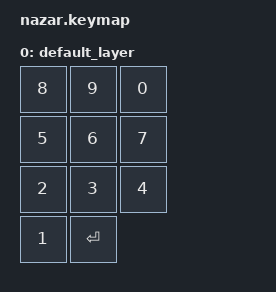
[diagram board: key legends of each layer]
#include <behaviors.dtsi>
#include <dt-bindings/zmk/keys.h>

/ {
    keymap {
        compatible = "zmk,keymap";
        default_layer {
        bindings = <
&kp N8 &kp N9 &kp N0
&kp N5 &kp N6 &kp N7
&kp N2 &kp N3 &kp N4
&kp N1 &kp RET
>;
        };
    };
};
